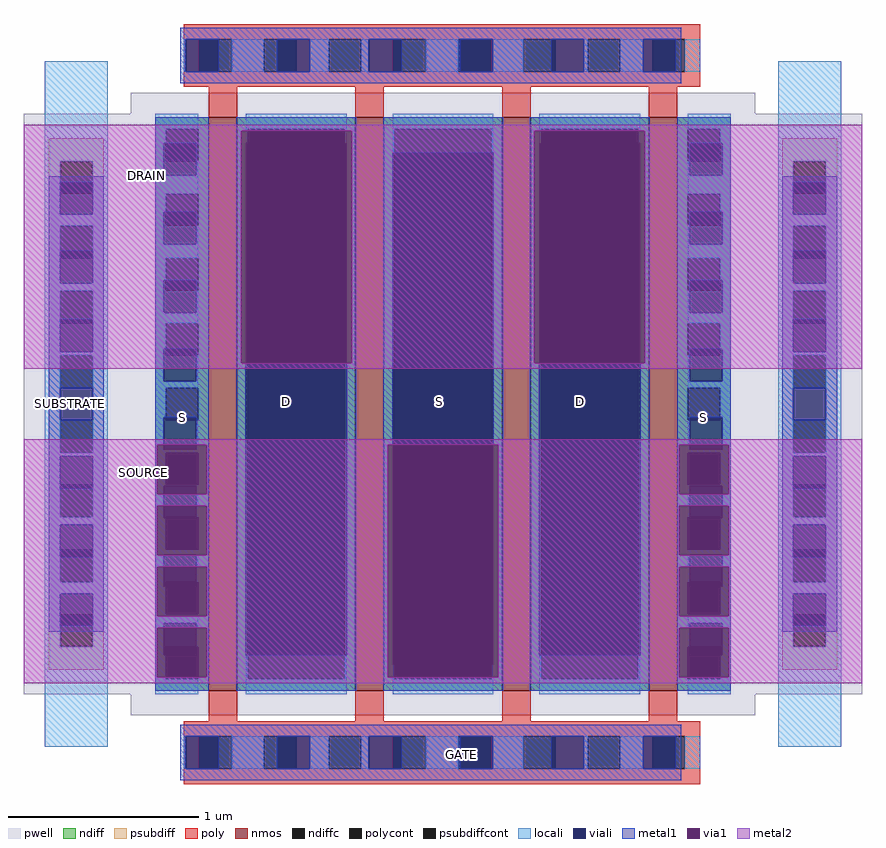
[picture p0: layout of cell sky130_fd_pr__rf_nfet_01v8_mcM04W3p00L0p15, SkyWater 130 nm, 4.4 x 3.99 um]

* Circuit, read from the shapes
.subckt sky130_fd_pr__rf_nfet_01v8_mcM04W3p00L0p15 DRAIN GATE SOURCE SUBSTRATE
XM1 DRAIN GATE SOURCE SUBSTRATE sky130_fd_pr__nfet_01v8 w=3.01 l=0.15 m=4
.ends

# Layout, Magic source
magic
tech sky130A
magscale 1 2
<< pwell >>
rect 112 708 768 730
rect 0 98 880 708
rect 112 76 768 98
<< nmos >>
rect 194 102 224 704
rect 348 102 378 704
rect 502 102 532 704
rect 656 102 686 704
<< ndiff >>
rect 138 692 194 704
rect 138 658 149 692
rect 183 658 194 692
rect 138 624 194 658
rect 138 590 149 624
rect 183 590 194 624
rect 138 556 194 590
rect 138 522 149 556
rect 183 522 194 556
rect 138 488 194 522
rect 138 454 149 488
rect 183 454 194 488
rect 138 420 194 454
rect 138 386 149 420
rect 183 386 194 420
rect 138 352 194 386
rect 138 318 149 352
rect 183 318 194 352
rect 138 284 194 318
rect 138 250 149 284
rect 183 250 194 284
rect 138 216 194 250
rect 138 182 149 216
rect 183 182 194 216
rect 138 148 194 182
rect 138 114 149 148
rect 183 114 194 148
rect 138 102 194 114
rect 224 692 348 704
rect 224 114 235 692
rect 337 114 348 692
rect 224 102 348 114
rect 378 692 502 704
rect 378 114 389 692
rect 491 114 502 692
rect 378 102 502 114
rect 532 692 656 704
rect 532 114 543 692
rect 645 114 656 692
rect 532 102 656 114
rect 686 692 742 704
rect 686 658 697 692
rect 731 658 742 692
rect 686 624 742 658
rect 686 590 697 624
rect 731 590 742 624
rect 686 556 742 590
rect 686 522 697 556
rect 731 522 742 556
rect 686 488 742 522
rect 686 454 697 488
rect 731 454 742 488
rect 686 420 742 454
rect 686 386 697 420
rect 731 386 742 420
rect 686 352 742 386
rect 686 318 697 352
rect 731 318 742 352
rect 686 284 742 318
rect 686 250 697 284
rect 731 250 742 284
rect 686 216 742 250
rect 686 182 697 216
rect 731 182 742 216
rect 686 148 742 182
rect 686 114 697 148
rect 731 114 742 148
rect 686 102 742 114
<< ndiffc >>
rect 149 658 183 692
rect 149 590 183 624
rect 149 522 183 556
rect 149 454 183 488
rect 149 386 183 420
rect 149 318 183 352
rect 149 250 183 284
rect 149 182 183 216
rect 149 114 183 148
rect 235 114 337 692
rect 389 114 491 692
rect 543 114 645 692
rect 697 658 731 692
rect 697 590 731 624
rect 697 522 731 556
rect 697 454 731 488
rect 697 386 731 420
rect 697 318 731 352
rect 697 250 731 284
rect 697 182 731 216
rect 697 114 731 148
<< psubdiff >>
rect 26 658 84 682
rect 26 624 38 658
rect 72 624 84 658
rect 26 590 84 624
rect 26 556 38 590
rect 72 556 84 590
rect 26 522 84 556
rect 26 488 38 522
rect 72 488 84 522
rect 26 454 84 488
rect 26 420 38 454
rect 72 420 84 454
rect 26 386 84 420
rect 26 352 38 386
rect 72 352 84 386
rect 26 318 84 352
rect 26 284 38 318
rect 72 284 84 318
rect 26 250 84 284
rect 26 216 38 250
rect 72 216 84 250
rect 26 182 84 216
rect 26 148 38 182
rect 72 148 84 182
rect 26 124 84 148
rect 796 658 854 682
rect 796 624 808 658
rect 842 624 854 658
rect 796 590 854 624
rect 796 556 808 590
rect 842 556 854 590
rect 796 522 854 556
rect 796 488 808 522
rect 842 488 854 522
rect 796 454 854 488
rect 796 420 808 454
rect 842 420 854 454
rect 796 386 854 420
rect 796 352 808 386
rect 842 352 854 386
rect 796 318 854 352
rect 796 284 808 318
rect 842 284 854 318
rect 796 250 854 284
rect 796 216 808 250
rect 842 216 854 250
rect 796 182 854 216
rect 796 148 808 182
rect 842 148 854 182
rect 796 124 854 148
<< psubdiffcont >>
rect 38 624 72 658
rect 38 556 72 590
rect 38 488 72 522
rect 38 420 72 454
rect 38 352 72 386
rect 38 284 72 318
rect 38 216 72 250
rect 38 148 72 182
rect 808 624 842 658
rect 808 556 842 590
rect 808 488 842 522
rect 808 420 842 454
rect 808 352 842 386
rect 808 284 842 318
rect 808 216 842 250
rect 808 148 842 182
<< poly >>
rect 168 786 710 802
rect 168 752 184 786
rect 218 752 252 786
rect 286 752 320 786
rect 354 752 388 786
rect 422 752 456 786
rect 490 752 524 786
rect 558 752 592 786
rect 626 752 660 786
rect 694 752 710 786
rect 168 736 710 752
rect 194 704 224 736
rect 348 704 378 736
rect 502 704 532 736
rect 656 704 686 736
rect 194 70 224 102
rect 348 70 378 102
rect 502 70 532 102
rect 656 70 686 102
rect 168 54 710 70
rect 168 20 184 54
rect 218 20 252 54
rect 286 20 320 54
rect 354 20 388 54
rect 422 20 456 54
rect 490 20 524 54
rect 558 20 592 54
rect 626 20 660 54
rect 694 20 710 54
rect 168 4 710 20
<< polycont >>
rect 184 752 218 786
rect 252 752 286 786
rect 320 752 354 786
rect 388 752 422 786
rect 456 752 490 786
rect 524 752 558 786
rect 592 752 626 786
rect 660 752 694 786
rect 184 20 218 54
rect 252 20 286 54
rect 320 20 354 54
rect 388 20 422 54
rect 456 20 490 54
rect 524 20 558 54
rect 592 20 626 54
rect 660 20 694 54
<< locali >>
rect 22 658 88 763
rect 168 752 170 786
rect 218 752 252 786
rect 300 752 320 786
rect 354 752 362 786
rect 422 752 456 786
rect 492 752 524 786
rect 588 752 592 786
rect 626 752 650 786
rect 694 752 710 786
rect 22 602 38 658
rect 72 602 88 658
rect 22 590 88 602
rect 22 530 38 590
rect 72 530 88 590
rect 22 522 88 530
rect 22 458 38 522
rect 72 458 88 522
rect 22 454 88 458
rect 22 352 38 454
rect 72 352 88 454
rect 22 348 88 352
rect 22 284 38 348
rect 72 284 88 348
rect 22 276 88 284
rect 22 216 38 276
rect 72 216 88 276
rect 22 204 88 216
rect 22 148 38 204
rect 72 148 88 204
rect 22 43 88 148
rect 138 692 183 708
rect 138 677 149 692
rect 138 643 147 677
rect 181 643 183 658
rect 138 624 183 643
rect 138 605 149 624
rect 138 571 147 605
rect 181 571 183 590
rect 138 556 183 571
rect 138 533 149 556
rect 138 499 147 533
rect 181 499 183 522
rect 138 488 183 499
rect 138 461 149 488
rect 138 427 147 461
rect 181 427 183 454
rect 138 420 183 427
rect 138 389 149 420
rect 138 355 147 389
rect 181 355 183 386
rect 138 352 183 355
rect 138 318 149 352
rect 138 317 183 318
rect 138 283 147 317
rect 181 284 183 317
rect 138 250 149 283
rect 138 245 183 250
rect 138 211 147 245
rect 181 216 183 245
rect 138 182 149 211
rect 138 173 183 182
rect 138 139 147 173
rect 181 148 183 173
rect 138 114 149 139
rect 138 98 183 114
rect 233 692 339 708
rect 233 677 235 692
rect 337 677 339 692
rect 233 114 235 139
rect 337 114 339 139
rect 233 98 339 114
rect 387 692 493 708
rect 387 667 389 692
rect 491 667 493 692
rect 387 114 389 129
rect 491 114 493 129
rect 387 98 493 114
rect 541 692 647 708
rect 541 677 543 692
rect 645 677 647 692
rect 541 114 543 139
rect 645 114 647 139
rect 541 98 647 114
rect 697 692 742 708
rect 731 677 742 692
rect 697 643 699 658
rect 733 643 742 677
rect 697 624 742 643
rect 731 605 742 624
rect 697 571 699 590
rect 733 571 742 605
rect 697 556 742 571
rect 731 533 742 556
rect 697 499 699 522
rect 733 499 742 533
rect 697 488 742 499
rect 731 461 742 488
rect 697 427 699 454
rect 733 427 742 461
rect 697 420 742 427
rect 731 389 742 420
rect 697 355 699 386
rect 733 355 742 389
rect 697 352 742 355
rect 731 318 742 352
rect 697 317 742 318
rect 697 284 699 317
rect 733 283 742 317
rect 731 250 742 283
rect 697 245 742 250
rect 697 216 699 245
rect 733 211 742 245
rect 731 182 742 211
rect 697 173 742 182
rect 697 148 699 173
rect 733 139 742 173
rect 731 114 742 139
rect 697 98 742 114
rect 792 658 858 763
rect 792 602 808 658
rect 842 602 858 658
rect 792 590 858 602
rect 792 530 808 590
rect 842 530 858 590
rect 792 522 858 530
rect 792 458 808 522
rect 842 458 858 522
rect 792 454 858 458
rect 792 352 808 454
rect 842 352 858 454
rect 792 348 858 352
rect 792 284 808 348
rect 842 284 858 348
rect 792 276 858 284
rect 792 216 808 276
rect 842 216 858 276
rect 792 204 858 216
rect 792 148 808 204
rect 842 148 858 204
rect 168 20 170 54
rect 218 20 252 54
rect 300 20 320 54
rect 354 20 362 54
rect 422 20 456 54
rect 492 20 524 54
rect 588 20 592 54
rect 626 20 650 54
rect 694 20 710 54
rect 792 43 858 148
<< viali >>
rect 170 752 184 786
rect 184 752 204 786
rect 266 752 286 786
rect 286 752 300 786
rect 362 752 388 786
rect 388 752 396 786
rect 458 752 490 786
rect 490 752 492 786
rect 554 752 558 786
rect 558 752 588 786
rect 650 752 660 786
rect 660 752 684 786
rect 38 624 72 636
rect 38 602 72 624
rect 38 556 72 564
rect 38 530 72 556
rect 38 488 72 492
rect 38 458 72 488
rect 38 386 72 420
rect 38 318 72 348
rect 38 314 72 318
rect 38 250 72 276
rect 38 242 72 250
rect 38 182 72 204
rect 38 170 72 182
rect 147 658 149 677
rect 149 658 181 677
rect 147 643 181 658
rect 147 590 149 605
rect 149 590 181 605
rect 147 571 181 590
rect 147 522 149 533
rect 149 522 181 533
rect 147 499 181 522
rect 147 454 149 461
rect 149 454 181 461
rect 147 427 181 454
rect 147 386 149 389
rect 149 386 181 389
rect 147 355 181 386
rect 147 284 181 317
rect 147 283 149 284
rect 149 283 181 284
rect 147 216 181 245
rect 147 211 149 216
rect 149 211 181 216
rect 147 148 181 173
rect 147 139 149 148
rect 149 139 181 148
rect 233 139 235 677
rect 235 139 337 677
rect 337 139 339 677
rect 387 129 389 667
rect 389 129 491 667
rect 491 129 493 667
rect 541 139 543 677
rect 543 139 645 677
rect 645 139 647 677
rect 699 658 731 677
rect 731 658 733 677
rect 699 643 733 658
rect 699 590 731 605
rect 731 590 733 605
rect 699 571 733 590
rect 699 522 731 533
rect 731 522 733 533
rect 699 499 733 522
rect 699 454 731 461
rect 731 454 733 461
rect 699 427 733 454
rect 699 386 731 389
rect 731 386 733 389
rect 699 355 733 386
rect 699 284 733 317
rect 699 283 731 284
rect 731 283 733 284
rect 699 216 733 245
rect 699 211 731 216
rect 731 211 733 216
rect 699 148 733 173
rect 699 139 731 148
rect 731 139 733 148
rect 808 624 842 636
rect 808 602 842 624
rect 808 556 842 564
rect 808 530 842 556
rect 808 488 842 492
rect 808 458 842 488
rect 808 386 842 420
rect 808 318 842 348
rect 808 314 842 318
rect 808 250 842 276
rect 808 242 842 250
rect 808 182 842 204
rect 808 170 842 182
rect 170 20 184 54
rect 184 20 204 54
rect 266 20 286 54
rect 286 20 300 54
rect 362 20 388 54
rect 388 20 396 54
rect 458 20 490 54
rect 490 20 492 54
rect 554 20 558 54
rect 558 20 588 54
rect 650 20 660 54
rect 660 20 684 54
<< metal1 >>
rect 164 786 690 798
rect 164 752 170 786
rect 204 752 266 786
rect 300 752 362 786
rect 396 752 458 786
rect 492 752 554 786
rect 588 752 650 786
rect 684 752 690 786
rect 164 740 690 752
rect 138 677 194 704
rect 138 643 147 677
rect 181 643 194 677
rect 26 636 84 642
rect 26 602 38 636
rect 72 602 84 636
rect 26 564 84 602
rect 26 530 38 564
rect 72 530 84 564
rect 26 492 84 530
rect 26 458 38 492
rect 72 458 84 492
rect 26 420 84 458
rect 26 386 38 420
rect 72 386 84 420
rect 26 348 84 386
rect 26 314 38 348
rect 72 314 84 348
rect 26 276 84 314
rect 26 242 38 276
rect 72 242 84 276
rect 26 204 84 242
rect 26 170 38 204
rect 72 170 84 204
rect 26 164 84 170
rect 138 605 194 643
rect 138 571 147 605
rect 181 571 194 605
rect 138 533 194 571
rect 138 499 147 533
rect 181 499 194 533
rect 138 461 194 499
rect 138 427 147 461
rect 181 427 194 461
rect 138 389 194 427
rect 138 360 147 389
rect 181 360 194 389
rect 138 308 140 360
rect 192 308 194 360
rect 138 296 147 308
rect 181 296 194 308
rect 138 244 140 296
rect 192 244 194 296
rect 138 232 147 244
rect 181 232 194 244
rect 138 180 140 232
rect 192 180 194 232
rect 138 173 194 180
rect 138 168 147 173
rect 181 168 194 173
rect 138 116 140 168
rect 192 116 194 168
rect 138 102 194 116
rect 223 690 349 704
rect 223 446 228 690
rect 344 446 349 690
rect 223 139 233 446
rect 339 139 349 446
rect 223 102 349 139
rect 377 667 503 704
rect 377 360 387 667
rect 493 360 503 667
rect 377 116 382 360
rect 498 116 503 360
rect 377 102 503 116
rect 531 690 657 704
rect 531 446 536 690
rect 652 446 657 690
rect 531 139 541 446
rect 647 139 657 446
rect 531 102 657 139
rect 686 677 742 704
rect 686 643 699 677
rect 733 643 742 677
rect 686 605 742 643
rect 686 571 699 605
rect 733 571 742 605
rect 686 533 742 571
rect 686 499 699 533
rect 733 499 742 533
rect 686 461 742 499
rect 686 427 699 461
rect 733 427 742 461
rect 686 389 742 427
rect 686 360 699 389
rect 733 360 742 389
rect 686 308 688 360
rect 740 308 742 360
rect 686 296 699 308
rect 733 296 742 308
rect 686 244 688 296
rect 740 244 742 296
rect 686 232 699 244
rect 733 232 742 244
rect 686 180 688 232
rect 740 180 742 232
rect 686 173 742 180
rect 686 168 699 173
rect 733 168 742 173
rect 686 116 688 168
rect 740 116 742 168
rect 796 636 854 642
rect 796 602 808 636
rect 842 602 854 636
rect 796 564 854 602
rect 796 530 808 564
rect 842 530 854 564
rect 796 492 854 530
rect 796 458 808 492
rect 842 458 854 492
rect 796 420 854 458
rect 796 386 808 420
rect 842 386 854 420
rect 796 348 854 386
rect 796 314 808 348
rect 842 314 854 348
rect 796 276 854 314
rect 796 242 808 276
rect 842 242 854 276
rect 796 204 854 242
rect 796 170 808 204
rect 842 170 854 204
rect 796 164 854 170
rect 686 102 742 116
rect 164 54 690 66
rect 164 20 170 54
rect 204 20 266 54
rect 300 20 362 54
rect 396 20 458 54
rect 492 20 554 54
rect 588 20 650 54
rect 684 20 690 54
rect 164 8 690 20
<< via1 >>
rect 140 355 147 360
rect 147 355 181 360
rect 181 355 192 360
rect 140 317 192 355
rect 140 308 147 317
rect 147 308 181 317
rect 181 308 192 317
rect 140 283 147 296
rect 147 283 181 296
rect 181 283 192 296
rect 140 245 192 283
rect 140 244 147 245
rect 147 244 181 245
rect 181 244 192 245
rect 140 211 147 232
rect 147 211 181 232
rect 181 211 192 232
rect 140 180 192 211
rect 140 139 147 168
rect 147 139 181 168
rect 181 139 192 168
rect 140 116 192 139
rect 228 677 344 690
rect 228 446 233 677
rect 233 446 339 677
rect 339 446 344 677
rect 382 129 387 360
rect 387 129 493 360
rect 493 129 498 360
rect 382 116 498 129
rect 536 677 652 690
rect 536 446 541 677
rect 541 446 647 677
rect 647 446 652 677
rect 688 355 699 360
rect 699 355 733 360
rect 733 355 740 360
rect 688 317 740 355
rect 688 308 699 317
rect 699 308 733 317
rect 733 308 740 317
rect 688 283 699 296
rect 699 283 733 296
rect 733 283 740 296
rect 688 245 740 283
rect 688 244 699 245
rect 699 244 733 245
rect 733 244 740 245
rect 688 211 699 232
rect 699 211 733 232
rect 733 211 740 232
rect 688 180 740 211
rect 688 139 699 168
rect 699 139 733 168
rect 733 139 740 168
rect 688 116 740 139
<< metal2 >>
rect 0 690 880 696
rect 0 446 228 690
rect 344 446 536 690
rect 652 446 880 690
rect 0 440 880 446
rect 0 360 880 366
rect 0 308 140 360
rect 192 308 382 360
rect 0 296 382 308
rect 0 244 140 296
rect 192 244 382 296
rect 0 232 382 244
rect 0 180 140 232
rect 192 180 382 232
rect 0 168 382 180
rect 0 116 140 168
rect 192 116 382 168
rect 498 308 688 360
rect 740 308 880 360
rect 498 296 880 308
rect 498 244 688 296
rect 740 244 880 296
rect 498 232 880 244
rect 498 180 688 232
rect 740 180 880 232
rect 498 168 880 180
rect 498 116 688 168
rect 740 116 880 168
rect 0 110 880 116
<< labels >>
flabel comment s 584 406 584 406 0 FreeSans 300 0 0 0 D
flabel comment s 166 389 166 389 0 FreeSans 300 0 0 0 S
flabel comment s 436 406 436 406 0 FreeSans 300 0 0 0 S
flabel comment s 276 406 276 406 0 FreeSans 300 0 0 0 D
flabel comment s 714 389 714 389 0 FreeSans 300 180 0 0 S
flabel metal1 s 36 370 62 437 0 FreeSans 400 90 0 0 SUBSTRATE
port 4 nsew
flabel metal1 s 416 22 502 47 0 FreeSans 400 0 0 0 GATE
port 2 nsew
flabel metal2 s 88 319 164 344 0 FreeSans 400 0 0 0 SOURCE
port 3 nsew
flabel metal2 s 84 627 173 659 0 FreeSans 400 0 0 0 DRAIN
port 1 nsew
<< properties >>
string GDS_FILE $PDKPATH/libs.ref/sky130_fd_pr/gds/sky130_fd_pr.gds
string GDS_END 6836744
string GDS_START 6816532
<< end >>
